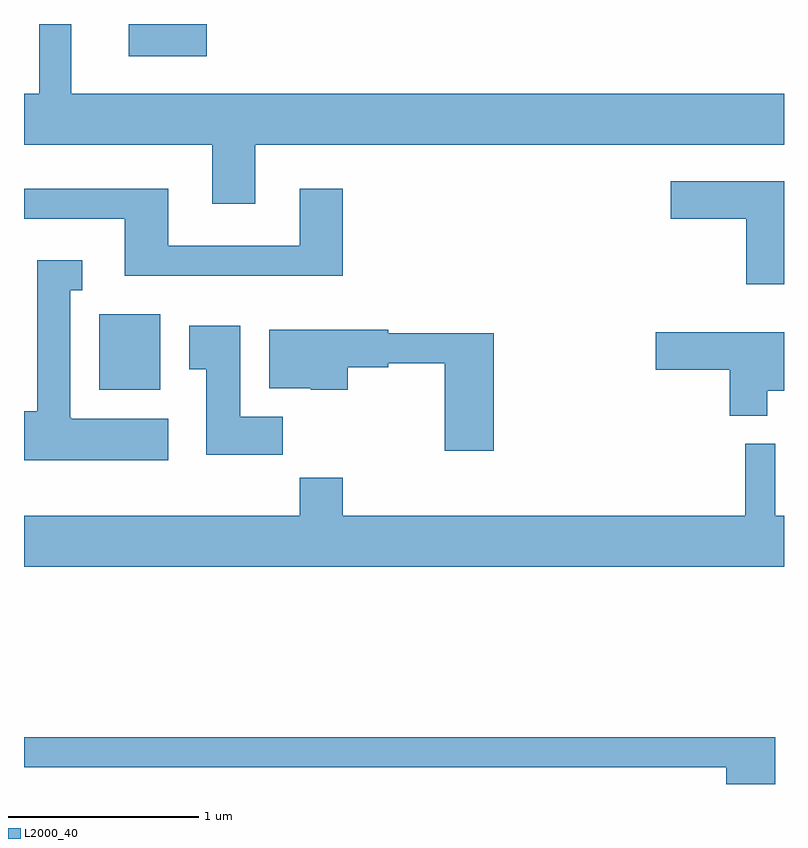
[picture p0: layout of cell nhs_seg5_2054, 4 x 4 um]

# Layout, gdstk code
import gdstk
lib = gdstk.Library(unit=1e-6, precision=1e-09)
def R(c, l, rs):  # rectangles x0, y0, x1, y1
    for r in rs: c.add(gdstk.rectangle(r[:2], r[2:], *l))
def P(c, l, *ps):  # polygons
    for p in ps: c.add(gdstk.Polygon(p, *l))
L2000_40 = (2000, 40)

nhs_seg5_2054 = lib.new_cell('nhs_seg5_2054')
R(nhs_seg5_2054, L2000_40, [(246.006,1482.146,246.329,1482.544), (246.161,1483.901,246.574,1484.072)])
P(nhs_seg5_2054, L2000_40, [(245.859,1484.072),(245.691,1484.072),(245.691,1483.704),(245.611,1483.704),(245.611,1483.436),(246.601,1483.436),(246.601,1483.126),(246.829,1483.126),(246.829,1483.436),(249.611,1483.436),(249.611,1483.704),(245.859,1483.704)],
  [(249.611,1483.244),(249.016,1483.244),(249.016,1483.046),(249.411,1483.046),(249.411,1482.701),(249.611,1482.701)],
  [(247.289,1483.204),(247.061,1483.204),(247.061,1482.904),(246.369,1482.904),(246.369,1483.204),(245.611,1483.204),(245.611,1483.046),(246.141,1483.046),(246.141,1482.746),(247.289,1482.746)],
  [(246.369,1481.994),(245.86,1481.994),(245.86,1482),(245.854,1482),(245.854,1482.671),(245.918,1482.671),(245.918,1482.829),(245.681,1482.829),(245.681,1482.034),(245.611,1482.034),(245.611,1481.776),(246.369,1481.776)],
  [(246.974,1482.004),(246.749,1482.004),(246.749,1482.484),(246.481,1482.484),(246.481,1482.256),(246.571,1482.256),(246.571,1481.806),(246.974,1481.806)],
  [(248.084,1482.444),(247.529,1482.444),(247.529,1482.464),(246.901,1482.464),(246.901,1482.156),(247.12,1482.156),(247.12,1482.146),(247.314,1482.146),(247.314,1482.266),(247.529,1482.266),(247.529,1482.286),(247.826,1482.286),(247.826,1481.826),(248.084,1481.826)],
  [(249.524,1482.141),(249.611,1482.141),(249.611,1482.449),(248.936,1482.449),(248.936,1482.251),(249.326,1482.251),(249.326,1482.011),(249.524,1482.011)],
  [(249.611,1481.484),(249.564,1481.484),(249.564,1481.863),(249.406,1481.863),(249.406,1481.484),(247.289,1481.484),(247.289,1481.684),(247.061,1481.684),(247.061,1481.484),(245.611,1481.484),(245.611,1481.216),(249.611,1481.216)],
  [(249.564,1480.319),(245.611,1480.319),(245.611,1480.161),(249.306,1480.161),(249.306,1480.072),(249.564,1480.072)])

lib.write_gds('nhs_seg5_2054.gds')
